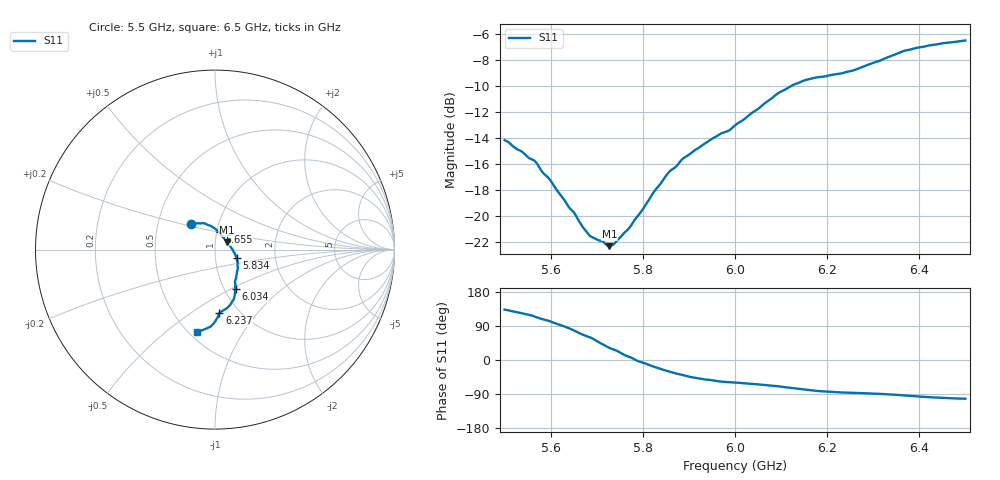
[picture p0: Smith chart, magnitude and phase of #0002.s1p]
#  HZ  S  DB  R  50.00
! Rohde & Schwarz ZVA24 4Ports - Version 3.60 - 1145.1110k28 SN: 101513
! Date: 2019-08-26 13:07:43
! Measurement: S33
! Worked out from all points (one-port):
!   801 points, 5.5 GHz to 6.5 GHz, reference 50 ohm
!   lowest |S11| = -22.4 dB at 5.728 GHz (marker M1), VSWR 1.17, Z = 56.7 + j4.6 ohm
!   |S11| at or under -10 dB: start of sweep to 6.123 GHz
!   S11 on the Smith chart (normalised r, x): 5.5 GHz: 0.74, +0.22; 5.655 GHz: 1.03, +0.20; 5.834 GHz: 1.27, -0.12; 6.034 GHz: 1.13, -0.52; 6.237 GHz: 0.81, -0.66; 6.5 GHz: 0.55, -0.65
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5.5e9  -14.20 133.0
5.56625e9  -15.83 114.2
5.625e9  -18.59 90.8
5.655e9  -20.03 75.0
5.66875e9  -20.84 67.3
5.685e9  -21.56 59.9
5.7275e9  -22.36 31.9
5.73625e9  -22.22 27.9
5.75e9  -21.72 20.2
5.7725e9  -20.86 7.4
5.83375e9  -17.75 -21.5
5.855e9  -16.73 -29.6
5.875e9  -16.11 -36.4
5.88625e9  -15.64 -39.5
5.91125e9  -15.00 -46.6
5.965e9  -13.78 -56.3
5.9875e9  -13.44 -58.5
6e9  -13.05 -59.4
6.03375e9  -12.17 -62.4
6.09e9  -10.67 -68.9
6.125e9  -9.96 -74.1
6.17375e9  -9.39 -81.1
6.2375e9  -8.99 -86.0
6.25e9  -8.89 -86.4
6.315e9  -8.07 -89.3
6.375e9  -7.26 -94.2
6.45125e9  -6.73 -100.3
6.5e9  -6.52 -102.2
